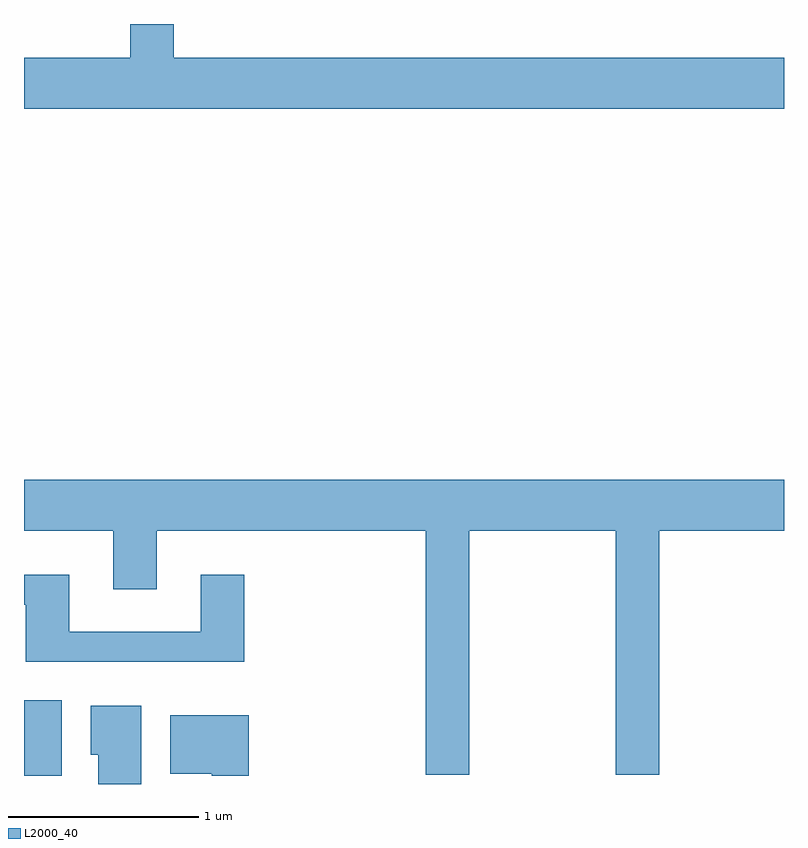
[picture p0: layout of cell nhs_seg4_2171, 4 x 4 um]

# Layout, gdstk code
import gdstk
lib = gdstk.Library(unit=1e-6, precision=1e-09)
def R(c, l, rs):  # rectangles x0, y0, x1, y1
    for r in rs: c.add(gdstk.rectangle(r[:2], r[2:], *l))
def P(c, l, *ps):  # polygons
    for p in ps: c.add(gdstk.Polygon(p, *l))
L2000_40 = (2000, 40)

nhs_seg4_2171 = lib.new_cell('nhs_seg4_2171')
R(nhs_seg4_2171, L2000_40, [(247.611,1380.026,247.809,1380.424)])
P(nhs_seg4_2171, L2000_40, [(251.611,1383.804),(248.399,1383.804),(248.399,1383.982),(248.171,1383.982),(248.171,1383.804),(247.611,1383.804),(247.611,1383.536),(251.611,1383.536)],
  [(249.954,1381.316),(250.726,1381.316),(250.726,1380.031),(250.954,1380.031),(250.954,1381.316),(251.611,1381.316),(251.611,1381.584),(247.611,1381.584),(247.611,1381.316),(248.081,1381.316),(248.081,1381.006),(248.309,1381.006),(248.309,1381.316),(249.726,1381.316),(249.726,1380.031),(249.954,1380.031)],
  [(248.769,1381.084),(248.541,1381.084),(248.541,1380.784),(247.849,1380.784),(247.849,1381.084),(247.611,1381.084),(247.611,1380.926),(247.621,1380.926),(247.621,1380.626),(248.769,1380.626)],
  [(248.229,1380.394),(247.961,1380.394),(247.961,1380.136),(248.001,1380.136),(248.001,1379.982),(248.229,1379.982)],
  [(248.794,1380.344),(248.381,1380.344),(248.381,1380.036),(248.6,1380.036),(248.6,1380.026),(248.794,1380.026)])

lib.write_gds('nhs_seg4_2171.gds')
